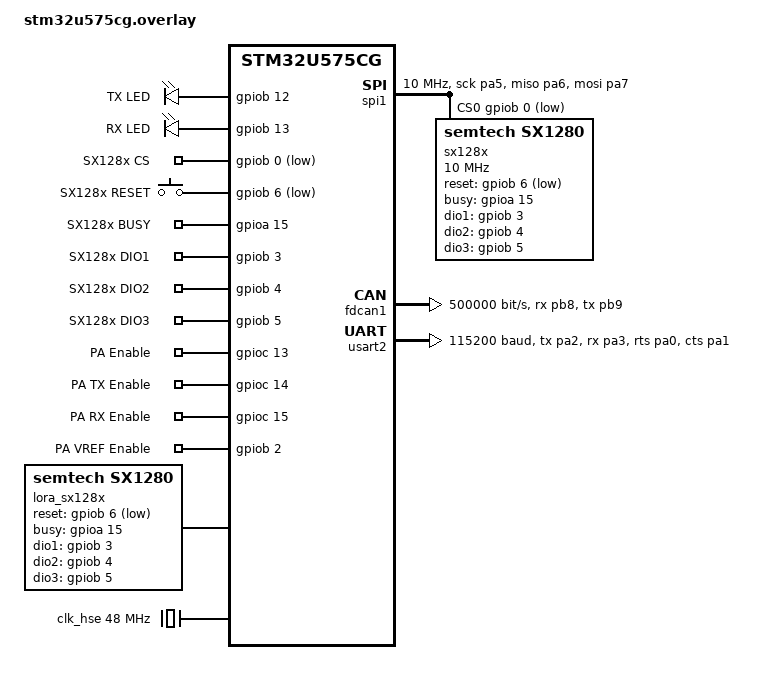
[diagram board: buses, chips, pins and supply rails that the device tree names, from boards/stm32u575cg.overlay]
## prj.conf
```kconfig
CONFIG_POLL=y
CONFIG_CAN=y
CONFIG_CAN_INIT_PRIORITY=80
CONFIG_CAN_MAX_FILTER=5

CONFIG_SHELL=y
CONFIG_CAN_SHELL=y
CONFIG_DEVICE_SHELL=y

CONFIG_GPIO=y
CONFIG_STATS=y
CONFIG_STATS_NAMES=y
CONFIG_STATS_SHELL=y
CONFIG_CAN_STATS=y

# Logging configuration
CONFIG_LOG=y
CONFIG_LOG_MODE_IMMEDIATE=y
CONFIG_USE_SEGGER_RTT=y
CONFIG_LOG_BACKEND_RTT=y
CONFIG_RTT_CONSOLE=y
CONFIG_SEGGER_RTT_BUFFER_SIZE_UP=1024
CONFIG_SEGGER_RTT_MODE_BLOCK_IF_FIFO_FULL=y

CONFIG_SX128X_LOG_LEVEL_DBG=y

# CONFIG_LOG_BACKEND_UART=y
# CONFIG_UART_CONSOLE=y
```

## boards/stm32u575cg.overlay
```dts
/*
 * STM32U575CG Board Overlay
 * Telemetry system peripheral configuration
 */

/ {
	aliases {
		lora0 = &lora_sx128x;
		led-tx = &led_tx;
		led-rx = &led_rx;
	};

	leds {
		compatible = "gpio-leds";
		led_tx: led_tx {
			gpios = <&gpiob 12 GPIO_ACTIVE_HIGH>;
			label = "TX LED";
		};
		led_rx: led_rx {
			gpios = <&gpiob 13 GPIO_ACTIVE_HIGH>;
			label = "RX LED";
		};
	};

	sx128x_gpios {
		compatible = "gpio-keys";
		sx128x_cs: sx128x_cs {
			gpios = <&gpiob 0 GPIO_ACTIVE_LOW>;
			label = "SX128x CS";
		};
		sx128x_reset: sx128x_reset {
			gpios = <&gpiob 6 GPIO_ACTIVE_LOW>;
			label = "SX128x RESET";
		};
		sx128x_busy: sx128x_busy {
			gpios = <&gpioa 15 GPIO_ACTIVE_HIGH>;
			label = "SX128x BUSY";
		};
		sx128x_dio1: sx128x_dio1 {
			gpios = <&gpiob 3 GPIO_ACTIVE_HIGH>;
			label = "SX128x DIO1";
		};
		sx128x_dio2: sx128x_dio2 {
			gpios = <&gpiob 4 GPIO_ACTIVE_HIGH>;
			label = "SX128x DIO2";
		};
		sx128x_dio3: sx128x_dio3 {
			gpios = <&gpiob 5 GPIO_ACTIVE_HIGH>;
			label = "SX128x DIO3";
		};
	};

	pa_control {
		compatible = "gpio-keys";
		pa_en: pa_en {
			gpios = <&gpioc 13 GPIO_ACTIVE_HIGH>;
			label = "PA Enable";
		};
		pa_tx_en: pa_tx_en {
			gpios = <&gpioc 14 GPIO_ACTIVE_HIGH>;
			label = "PA TX Enable";
		};
		pa_rx_en: pa_rx_en {
			gpios = <&gpioc 15 GPIO_ACTIVE_HIGH>;
			label = "PA RX Enable";
		};
		pa_vref_en: pa_vref_en {
			gpios = <&gpiob 2 GPIO_ACTIVE_HIGH>;
			label = "PA VREF Enable";
		};
	};

	lora_sx128x: sx128x@0 {
		compatible = "semtech,sx1280";
		reset-gpios = <&gpiob 6 GPIO_ACTIVE_LOW>;
		busy-gpios = <&gpioa 15 GPIO_ACTIVE_HIGH>;
		dio1-gpios = <&gpiob 3 GPIO_ACTIVE_HIGH>;
		dio2-gpios = <&gpiob 4 GPIO_ACTIVE_HIGH>;
		dio3-gpios = <&gpiob 5 GPIO_ACTIVE_HIGH>;
	};
};

/* Clock Configuration */
&clk_hse {
	clock-frequency = <DT_FREQ_M(48)>;
	status = "okay";
};

&clk_hsi48 {
	status = "okay";
};

&pll1 {
	div-m = <3>;
	mul-n = <10>;
	div-p = <1>;
	div-q = <2>;
	div-r = <2>;
	clocks = <&clk_hse>;
	status = "okay";
};

&rcc {
	clocks = <&pll1>;
	clock-frequency = <DT_FREQ_M(160)>;
	ahb-prescaler = <1>;
	apb1-prescaler = <1>;
	apb2-prescaler = <1>;
	apb3-prescaler = <1>;
};

/* SPI1 Configuration */
&spi1 {
	pinctrl-0 = <&spi1_sck_pa5 &spi1_miso_pa6 &spi1_mosi_pa7>;
	pinctrl-names = "default";
	cs-gpios = <&gpiob 0 GPIO_ACTIVE_LOW>;
	status = "okay";
	clock-frequency = <DT_FREQ_M(10)>;

	sx128x@0 {
		compatible = "semtech,sx1280";
		reg = <0>;
		spi-max-frequency = <DT_FREQ_M(10)>;
		reset-gpios = <&gpiob 6 GPIO_ACTIVE_LOW>;
		busy-gpios = <&gpioa 15 GPIO_ACTIVE_HIGH>;
		dio1-gpios = <&gpiob 3 GPIO_ACTIVE_HIGH>;
		dio2-gpios = <&gpiob 4 GPIO_ACTIVE_HIGH>;
		dio3-gpios = <&gpiob 5 GPIO_ACTIVE_HIGH>;
	};
};

/* FDCAN1 Configuration */
&fdcan1 {
	pinctrl-0 = <&fdcan1_rx_pb8 &fdcan1_tx_pb9>;
	pinctrl-names = "default";
	status = "okay";
	bus-speed = <500000>;
	bus-speed-data = <1000000>;
	sjw = <1>;
	sjw-data = <1>;
	sample-point = <875>;
	sample-point-data = <875>;
};

/* USART2 Configuration with DMA */
&usart2 {
	pinctrl-0 = <&usart2_tx_pa2 &usart2_rx_pa3 &usart2_rts_pa0 &usart2_cts_pa1>;
	pinctrl-names = "default";
	current-speed = <115200>;
	hw-flow-control;
	status = "okay";
	dmas = <&gpdma1 0 0 (STM32_DMA_PERIPH_TX | STM32_DMA_PRIORITY_HIGH)>,
	       <&gpdma1 1 0 (STM32_DMA_PERIPH_RX | STM32_DMA_PRIORITY_HIGH)>;
	dma-names = "tx", "rx";
};

/* DMA Configuration */
&gpdma1 {
	status = "okay";
};

/* GPIO Port Configuration */
&gpioa {
	status = "okay";
};

&gpiob {
	status = "okay";
};

&gpioc {
	status = "okay";
};
```

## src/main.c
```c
/*
 * Copyright (c) 2018 Alexander Wachter
 *
 * SPDX-License-Identifier: Apache-2.0
 */

/* Sample CAN implementation from zephyr */
#include <stdio.h>

#include <zephyr/device.h>
#include <zephyr/drivers/can.h>
#include <zephyr/drivers/gpio.h>
#include <zephyr/kernel.h>
#include <zephyr/sys/byteorder.h>
#include <zephyr/sys/printk.h>

/* Thread configuration constants */
#define RX_THREAD_STACK_SIZE 512         // Stack size for receive thread
#define RX_THREAD_PRIORITY 2             // Priority level for RX thread
#define STATE_POLL_THREAD_STACK_SIZE 512 // Stack size for state polling thread
#define STATE_POLL_THREAD_PRIORITY 2     // Priority level for state thread

/* CAN message identifiers */
#define LED_MSG_ID 0x10        // Standard CAN ID for LED control messages
#define COUNTER_MSG_ID 0x12345 // Extended CAN ID for counter messages

/* LED control values */
#define SET_LED 1   // Value to turn LED on
#define RESET_LED 0 // Value to turn LED off

/* Timing constant */
#define SLEEP_TIME K_MSEC(250) // 250ms delay between transmissions

/* Allocate memory for thread stacks */
K_THREAD_STACK_DEFINE(rx_thread_stack, RX_THREAD_STACK_SIZE);
K_THREAD_STACK_DEFINE(poll_state_stack, STATE_POLL_THREAD_STACK_SIZE);

/* Get the CAN device from device tree */
const struct device *const can_dev = DEVICE_DT_GET(DT_CHOSEN(zephyr_canbus));

/* Get LED GPIO specification from device tree (or use empty spec if not
 * available) */
struct gpio_dt_spec led = GPIO_DT_SPEC_GET_OR(DT_ALIAS(led0), gpios, {0});

/* Thread control blocks */
struct k_thread rx_thread_data;
struct k_thread poll_state_thread_data;

/* Work items for deferred processing */
struct k_work_poll change_led_work; // Polling work for LED changes
struct k_work state_change_work;    // Work item for state change callbacks

/* Global state variables */
enum can_state current_state;           // Current CAN bus state
struct can_bus_err_cnt current_err_cnt; // Current error counters

/* Message queues for CAN frames - macro creates queue with 2 frame capacity */
CAN_MSGQ_DEFINE(change_led_msgq, 2); // Queue for LED control messages
CAN_MSGQ_DEFINE(counter_msgq, 2);    // Queue for counter messages

/* Poll event for LED message queue - triggers when data is available */
static struct k_poll_event change_led_events[1] = {
    K_POLL_EVENT_STATIC_INITIALIZER(K_POLL_TYPE_MSGQ_DATA_AVAILABLE,
                                    K_POLL_MODE_NOTIFY_ONLY, &change_led_msgq,
                                    0)};

/**
 * Callback function called when a CAN frame transmission completes
 * @param dev: The CAN device
 * @param error: Error code (0 = success)
 * @param arg: User-provided argument (sender identification string)
 */
void tx_irq_callback(const struct device *dev, int error, void *arg) {
  char *sender = (char *)arg;

  ARG_UNUSED(dev);

  // Only print if there was an error
  if (error != 0) {
    printf("Callback! error-code: %d\nSender: %s\n", error, sender);
  }
}

/**
 * Thread function that receives counter messages from CAN bus
 * Filters for extended ID messages with COUNTER_MSG_ID
 */
void rx_thread(void *arg1, void *arg2, void *arg3) {
  ARG_UNUSED(arg1);
  ARG_UNUSED(arg2);
  ARG_UNUSED(arg3);

  /* Configure filter for extended CAN frames with specific ID */
  const struct can_filter filter = {
      .flags = CAN_FILTER_IDE, // Filter for extended ID frames
      .id = COUNTER_MSG_ID,    // Match this specific ID
      .mask = CAN_EXT_ID_MASK  // Check all bits of extended ID
  };
  struct can_frame frame;
  int filter_id;

  /* Add filter and attach to message queue - received frames go directly to
   * queue */
  filter_id = can_add_rx_filter_msgq(can_dev, &counter_msgq, &filter);
  printf("Counter filter id: %d\n", filter_id);

  /* Main receive loop - runs forever */
  while (1) {
    /* Block until a frame is available in the queue */
    k_msgq_get(&counter_msgq, &frame, K_FOREVER);

    /* Skip Remote Transmission Request frames if RTR is enabled */
    if (IS_ENABLED(CONFIG_CAN_ACCEPT_RTR) &&
        (frame.flags & CAN_FRAME_RTR) != 0U) {
      continue;
    }

    /* Validate data length - expecting 2 bytes for uint16_t counter */
    if (frame.dlc != 2U) {
      printf("Wrong data length: %u\n", frame.dlc);
      continue;
    }

    /* Extract counter value - convert from big-endian network byte order */
    printf("Counter received: %u\n",
           sys_be16_to_cpu(UNALIGNED_GET((uint16_t *)&frame.data)));
  }
}

/**
 * Work handler that processes LED control messages
 * Executes in system workqueue context when polled event triggers
 */
void change_led_work_handler(struct k_work *work) {
  struct can_frame frame;
  int ret;

  /* Process all available messages in the queue */
  while (k_msgq_get(&change_led_msgq, &frame, K_NO_WAIT) == 0) {
    /* Skip RTR frames if enabled */
    if (IS_ENABLED(CONFIG_CAN_ACCEPT_RTR) &&
        (frame.flags & CAN_FRAME_RTR) != 0U) {
      continue;
    }

    /* Control LED based on frame data */
    if (led.port == NULL) {
      /* No LED available - just print status */
      printf("LED %s\n", frame.data[0] == SET_LED ? "ON" : "OFF");
    } else {
      /* Set GPIO pin high (1) or low (0) */
      gpio_pin_set(led.port, led.pin, frame.data[0] == SET_LED ? 1 : 0);
    }
  }

  /* Resubmit the polling work to wait for next message */
  ret = k_work_poll_submit(&change_led_work, change_led_events,
                           ARRAY_SIZE(change_led_events), K_FOREVER);
  if (ret != 0) {
    printf("Failed to resubmit msgq polling: %d", ret);
  }
}

/**
 * Convert CAN state enum to human-readable string
 * @param state: The CAN controller state
 * @return: String representation of the state
 */
char *state_to_str(enum can_state state) {
  switch (state) {
  case CAN_STATE_ERROR_ACTIVE:
    return "error-active"; // Normal operation
  case CAN_STATE_ERROR_WARNING:
    return "error-warning"; // Error count exceeded warning threshold
  case CAN_STATE_ERROR_PASSIVE:
    return "error-passive"; // Error count exceeded passive threshold
  case CAN_STATE_BUS_OFF:
    return "bus-off"; // Too many errors, disconnected from bus
  case CAN_STATE_STOPPED:
    return "stopped"; // Controller is stopped
  default:
    return "unknown";
  }
}

/**
 * Thread that periodically polls CAN controller state and error counts
 * Prints updates when state or error counts change
 */
void poll_state_thread(void *unused1, void *unused2, void *unused3) {
  struct can_bus_err_cnt err_cnt = {0, 0};
  struct can_bus_err_cnt err_cnt_prev = {0, 0};
  enum can_state state_prev = CAN_STATE_ERROR_ACTIVE;
  enum can_state state;
  int err;

  while (1) {
    /* Query current state and error counters */
    err = can_get_state(can_dev, &state, &err_cnt);
    if (err != 0) {
      printf("Failed to get CAN controller state: %d", err);
      k_sleep(K_MSEC(100));
      continue;
    }

    /* Check if anything changed since last poll */
    if (err_cnt.tx_err_cnt != err_cnt_prev.tx_err_cnt ||
        err_cnt.rx_err_cnt != err_cnt_prev.rx_err_cnt || state_prev != state) {

      /* Update previous values */
      err_cnt_prev.tx_err_cnt = err_cnt.tx_err_cnt;
      err_cnt_prev.rx_err_cnt = err_cnt.rx_err_cnt;
      state_prev = state;

      /* Print current status */
      printf("state: %s\n"
             "rx error count: %d\n"
             "tx error count: %d\n",
             state_to_str(state), err_cnt.rx_err_cnt, err_cnt.tx_err_cnt);
    } else {
      /* No change - sleep before next poll */
      k_sleep(K_MSEC(100));
    }
  }
}

/**
 * Work handler for state change callbacks
 * Prints state information when CAN controller state changes
 */
void state_change_work_handler(struct k_work *work) {
  printf("State Change ISR\nstate: %s\n"
         "rx error count: %d\n"
         "tx error count: %d\n",
         state_to_str(current_state), current_err_cnt.rx_err_cnt,
         current_err_cnt.tx_err_cnt);
}

/**
 * Interrupt callback for CAN state changes
 * Executes in ISR context - defers work to system workqueue
 * @param dev: CAN device
 * @param state: New state
 * @param err_cnt: Current error counters
 * @param user_data: User-provided work item pointer
 */
void state_change_callback(const struct device *dev, enum can_state state,
                           struct can_bus_err_cnt err_cnt, void *user_data) {
  struct k_work *work = (struct k_work *)user_data;

  ARG_UNUSED(dev);

  /* Store state in global variables */
  current_state = state;
  current_err_cnt = err_cnt;

  /* Submit work item for processing outside ISR context */
  k_work_submit(work);
}

/**
 * Main function - initializes CAN bus and runs transmission loop
 */
int main(void) {
  /* Filter for standard ID LED control messages */
  const struct can_filter change_led_filter = {
      .flags = 0U,            // Standard ID (not extended)
      .id = LED_MSG_ID,       // Match LED message ID
      .mask = CAN_STD_ID_MASK // Check all standard ID bits
  };

  /* Frame for LED control - standard ID, 1 byte of data */
  struct can_frame change_led_frame = {
      .flags = 0,
      .id = LED_MSG_ID,
      .dlc = 1 // Data length: 1 byte
  };

  /* Frame for counter - extended ID, 2 bytes of data */
  struct can_frame counter_frame = {
      .flags = CAN_FRAME_IDE, // Extended ID flag
      .id = COUNTER_MSG_ID,
      .dlc = 2 // Data length: 2 bytes
  };

  uint8_t toggle = 1;   // Toggle variable for LED state
  uint16_t counter = 0; // Counter value to transmit
  k_tid_t rx_tid, get_state_tid;
  int ret;

  /* Verify CAN device is ready */
  if (!device_is_ready(can_dev)) {
    printf("CAN: Device %s not ready.\n", can_dev->name);
    return 0;
  }

#ifdef CONFIG_LOOPBACK_MODE
  /* Enable loopback mode for testing without physical bus */
  ret = can_set_mode(can_dev, CAN_MODE_LOOPBACK);
  if (ret != 0) {
    printf("Error setting CAN mode [%d]", ret);
    return 0;
  }
#endif

  /* Start the CAN controller */
  ret = can_start(can_dev);
  if (ret != 0) {
    printf("Error starting CAN controller [%d]", ret);
    return 0;
  }

  /* Initialize LED GPIO if available */
  if (led.port != NULL) {
    if (!gpio_is_ready_dt(&led)) {
      printf("LED: Device %s not ready.\n", led.port->name);
      return 0;
    }
    /* Configure LED pin as output, initially high */
    ret = gpio_pin_configure_dt(&led, GPIO_OUTPUT_HIGH);
    if (ret < 0) {
      printf("Error setting LED pin to output mode [%d]", ret);
      led.port = NULL; // Disable LED on error
    }
  }

  /* Initialize work items */
  k_work_init(&state_change_work, state_change_work_handler);
  k_work_poll_init(&change_led_work, change_led_work_handler);

  /* Add receive filter for LED messages */
  ret = can_add_rx_filter_msgq(can_dev, &change_led_msgq, &change_led_filter);
  if (ret == -ENOSPC) {
    printf("Error, no filter available!\n");
    return 0;
  }

  printf("Change LED filter ID: %d\n", ret);

  /* Submit polling work for LED messages */
  ret = k_work_poll_submit(&change_led_work, change_led_events,
                           ARRAY_SIZE(change_led_events), K_FOREVER);
  if (ret != 0) {
    printf("Failed to submit msgq polling: %d", ret);
    return 0;
  }

  /* Create thread to receive counter messages */
  rx_tid = k_thread_create(&rx_thread_data, rx_thread_stack,
                           K_THREAD_STACK_SIZEOF(rx_thread_stack), rx_thread,
                           NULL, NULL, NULL, RX_THREAD_PRIORITY, 0, K_NO_WAIT);
  if (!rx_tid) {
    printf("ERROR spawning rx thread\n");
  }

  /* Create thread to poll CAN controller state */
  get_state_tid = k_thread_create(&poll_state_thread_data, poll_state_stack,
                                  K_THREAD_STACK_SIZEOF(poll_state_stack),
                                  poll_state_thread, NULL, NULL, NULL,
                                  STATE_POLL_THREAD_PRIORITY, 0, K_NO_WAIT);
  if (!get_state_tid) {
    printf("ERROR spawning poll_state_thread\n");
  }

  /* Register callback for CAN state changes */
  can_set_state_change_callback(can_dev, state_change_callback,
                                &state_change_work);

  printf("Finished init.\n");

  /* Main transmission loop */
  while (1) {
    /* Toggle LED state (alternates between on/off) */
    change_led_frame.data[0] = toggle++ & 0x01 ? SET_LED : RESET_LED;

    /* Send LED control frame - non-blocking with callback */
    can_send(can_dev, &change_led_frame, K_FOREVER, tx_irq_callback,
             "LED change");
    k_sleep(SLEEP_TIME);

    /* Prepare counter frame - store as big-endian uint16_t */
    UNALIGNED_PUT(sys_cpu_to_be16(counter), (uint16_t *)&counter_frame.data[0]);
    counter++;

    /* Send counter frame - blocking call with 100ms timeout */
    can_send(can_dev, &counter_frame, K_MSEC(100), NULL, NULL);
    k_sleep(SLEEP_TIME);
  }
}
```

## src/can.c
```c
#include "can.h"
#include <string.h>
#include <zephyr/drivers/can.h>
#include <zephyr/kernel.h>
#include <zephyr/logging/log.h>

LOG_MODULE_REGISTER(can_module, LOG_LEVEL_DBG);

/* CAN device */
static const struct device *can_dev = DEVICE_DT_GET(DT_NODELABEL(fdcan1));

/* Message queues */
K_MSGQ_DEFINE(can_rx_queue, sizeof(CanMsg), 32, 4);
K_MSGQ_DEFINE(can_tx_queue, sizeof(CanMsg), 32, 4);

/* Thread stacks */
#define CAN_RX_THREAD_STACK_SIZE 1024
#define CAN_TX_THREAD_STACK_SIZE 1024
#define CAN_THREAD_PRIORITY 5

K_THREAD_STACK_DEFINE(can_rx_thread_stack, CAN_RX_THREAD_STACK_SIZE);
K_THREAD_STACK_DEFINE(can_tx_thread_stack, CAN_TX_THREAD_STACK_SIZE);

static struct k_thread can_rx_thread_data;
static struct k_thread can_tx_thread_data;

/* CAN RX callback */
static void can_rx_callback(const struct device *dev, struct can_frame *frame,
                            void *user_data) {
  ARG_UNUSED(dev);
  ARG_UNUSED(user_data);

  /* Convert to CanMsg */
  CanMsg msg;
  msg.id = frame->id;
  msg.length = frame->dlc;

  if (msg.length > 64) {
    LOG_WRN("Received CAN frame with length > 64, truncating");
    msg.length = 64;
  }

  memcpy(msg.data, frame->data, msg.length);

  /* Queue the message for radio transmission */
  int ret = k_msgq_put(&can_tx_queue, &msg, K_NO_WAIT);
  if (ret != 0) {
    LOG_WRN("CAN TX queue full, dropping message ID 0x%03x", msg.id);
  }
}

/* CAN RX thread - sets up filter and waits */
static void can_rx_thread(void *arg1, void *arg2, void *arg3) {
  ARG_UNUSED(arg1);
  ARG_UNUSED(arg2);
  ARG_UNUSED(arg3);

  LOG_INF("CAN RX thread started");

  /* Setup RX filter for standard IDs 0-255 */
  struct can_filter filter = {
      .flags = CAN_FILTER_IDE,
      .id = 0x000,
      .mask = CAN_STD_ID_MASK & ~0xFF /* Accept IDs 0x000-0x0FF */
  };

  int filter_id = can_add_rx_filter(can_dev, can_rx_callback, NULL, &filter);
  if (filter_id < 0) {
    LOG_ERR("Failed to add CAN RX filter: %d", filter_id);
    return;
  }

  LOG_INF("CAN RX filter installed (ID: %d), accepting IDs 0-255", filter_id);

  /* Thread keeps running - callbacks handle RX */
  while (1) {
    k_sleep(K_FOREVER);
  }
}

/* CAN TX thread - sends messages from rx_queue to CAN bus */
static void can_tx_thread(void *arg1, void *arg2, void *arg3) {
  ARG_UNUSED(arg1);
  ARG_UNUSED(arg2);
  ARG_UNUSED(arg3);

  LOG_INF("CAN TX thread started");

  CanMsg msg;

  while (1) {
    /* Block waiting for message from radio */
    int ret = k_msgq_get(&can_rx_queue, &msg, K_FOREVER);
    if (ret != 0) {
      LOG_ERR("Failed to get message from RX queue: %d", ret);
      continue;
    }

    /* Validate message */
    if (msg.id > 0xFF) {
      LOG_WRN("CAN message ID 0x%03x out of range (0-255), dropping", msg.id);
      continue;
    }

    if (msg.length > 64) {
      LOG_WRN("CAN message length %d > 64, truncating", msg.length);
      msg.length = 64;
    }

    /* Convert to Zephyr CAN frame */
    struct can_frame frame = {
        .flags =
            CAN_FRAME_FDF | CAN_FRAME_BRS, /* FD mode with bit rate switch */
        .id = msg.id,
        .dlc = msg.length};

    memcpy(frame.data, msg.data, msg.length);

    /* Send the frame */
    ret = can_send(can_dev, &frame, K_MSEC(100), NULL, NULL);
    if (ret != 0) {
      LOG_ERR("Failed to send CAN frame ID 0x%03x: %d", msg.id, ret);
    } else {
      LOG_DBG("Sent CAN frame ID 0x%03x, len %d", msg.id, msg.length);
    }
  }
}

int can_init(void) {
  if (!device_is_ready(can_dev)) {
    LOG_ERR("CAN device not ready");
    return -ENODEV;
  }

  LOG_INF("CAN device ready");

  /* Configure CAN timing for CAN-FD */
  /* Nominal bitrate: 500 kbps, Data bitrate: 1 Mbps */
  struct can_timing timing = {.sjw = 1,
                              .prop_seg = 0,
                              .phase_seg1 = 13,
                              .phase_seg2 = 2,
                              .prescaler = 6};

  struct can_timing timing_data = {.sjw = 1,
                                   .prop_seg = 0,
                                   .phase_seg1 = 6,
                                   .phase_seg2 = 1,
                                   .prescaler = 6};

  int ret = can_set_timing(can_dev, &timing);
  if (ret != 0) {
    LOG_ERR("Failed to set CAN timing: %d", ret);
    return ret;
  }

  ret = can_set_timing_data(can_dev, &timing_data);
  if (ret != 0) {
    LOG_ERR("Failed to set CAN data timing: %d", ret);
    return ret;
  }

  /* Set CAN mode to FD */
  ret = can_set_mode(can_dev, CAN_MODE_FD);
  if (ret != 0) {
    LOG_ERR("Failed to set CAN FD mode: %d", ret);
    return ret;
  }

  /* Start CAN controller */
  ret = can_start(can_dev);
  if (ret != 0) {
    LOG_ERR("Failed to start CAN: %d", ret);
    return ret;
  }

  LOG_INF("CAN controller started in FD mode (500k/1M)");

  /* Create RX thread */
  k_thread_create(&can_rx_thread_data, can_rx_thread_stack,
                  K_THREAD_STACK_SIZEOF(can_rx_thread_stack), can_rx_thread,
                  NULL, NULL, NULL, CAN_THREAD_PRIORITY, 0, K_NO_WAIT);
  k_thread_name_set(&can_rx_thread_data, "can_rx");

  /* Create TX thread */
  k_thread_create(&can_tx_thread_data, can_tx_thread_stack,
                  K_THREAD_STACK_SIZEOF(can_tx_thread_stack), can_tx_thread,
                  NULL, NULL, NULL, CAN_THREAD_PRIORITY, 0, K_NO_WAIT);
  k_thread_name_set(&can_tx_thread_data, "can_tx");

  LOG_INF("CAN threads started");

  return 0;
}

int can_queue_rx_msg(const CanMsg *msg) {
  if (!msg) {
    return -EINVAL;
  }

  /* Queue message for transmission on CAN bus */
  int ret = k_msgq_put(&can_rx_queue, msg, K_NO_WAIT);
  if (ret != 0) {
    return -ENOMEM;
  }

  return 0;
}

int can_dequeue_tx_msg(CanMsg *msg, k_timeout_t timeout) {
  if (!msg) {
    return -EINVAL;
  }

  /* Dequeue message received from CAN bus */
  int ret = k_msgq_get(&can_tx_queue, msg, timeout);
  if (ret != 0) {
    return -EAGAIN;
  }

  return 0;
}
```

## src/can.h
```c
#ifndef CAN_H
#define CAN_H

#include "protocol.h"
#include <zephyr/kernel.h>

/**
 * Initialize CAN peripheral and start RX/TX threads
 *
 * Configures CAN-FD with:
 * - Nominal bitrate: 500 kbps
 * - Data bitrate: 1 Mbps
 * - FD mode enabled
 * - Max data length: 64 bytes
 *
 * @return 0 on success, negative error code on failure
 */
int can_init(void);

/**
 * Queue a received CAN message from radio for transmission on CAN bus
 *
 * This function is called by the radio layer when a CAN message
 * needs to be transmitted on the CAN bus.
 *
 * @param msg CAN message to queue for transmission
 * @return 0 on success, -ENOMEM if queue is full
 */
int can_queue_rx_msg(const CanMsg *msg);

/**
 * Dequeue a CAN message received from bus for radio transmission
 *
 * This function is called by the radio layer to get CAN messages
 * that were received from the CAN bus and need to be transmitted
 * over the radio.
 *
 * @param msg Buffer to store the dequeued message
 * @param timeout Timeout for waiting if queue is empty
 * @return 0 on success, -EAGAIN if timeout, negative error code on failure
 */
int can_dequeue_tx_msg(CanMsg *msg, k_timeout_t timeout);

#endif /* CAN_H */
```

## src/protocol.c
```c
#include "protocol.h"
#include <string.h>
#include <zephyr/sys/crc.h>

/* Protocol constants */
#define PROTOCOL_HEADER_MAGIC_0 'b'
#define PROTOCOL_HEADER_MAGIC_1 'r'
#define PROTOCOL_HEADER_SIZE 4 /* "br" + id + payload_length */
#define PROTOCOL_CRC_SIZE 2
#define PROTOCOL_MIN_PACKET_SIZE (PROTOCOL_HEADER_SIZE + PROTOCOL_CRC_SIZE)

/* Helper function to write uint16_t in little-endian */
static inline void write_u16_le(uint8_t *buf, uint16_t value) {
  buf[0] = value & 0xFF;
  buf[1] = (value >> 8) & 0xFF;
}

/* Helper function to read uint16_t in little-endian */
static inline uint16_t read_u16_le(const uint8_t *buf) {
  return (uint16_t)buf[0] | ((uint16_t)buf[1] << 8);
}

int protocol_begin_buffer(uint8_t *data, size_t data_len, uint8_t id) {
  if (!data || data_len < PROTOCOL_MIN_PACKET_SIZE) {
    return -1;
  }

  /* Write header: "br" + id + payload_length (placeholder 0) */
  data[0] = PROTOCOL_HEADER_MAGIC_0;
  data[1] = PROTOCOL_HEADER_MAGIC_1;
  data[2] = id;
  data[3] = 0; /* Payload length placeholder, will be updated in finish */

  return PROTOCOL_HEADER_SIZE;
}

int protocol_append_can_frame(uint8_t *data, size_t data_len, size_t index,
                              const CanMsg *msg) {
  if (!data || !msg || msg->length > 64) {
    return -1;
  }

  /* CAN frame: id(2 bytes LE) + length(1 byte) + data[length] */
  size_t frame_size = 1 + 2 + 1 + msg->length;

  /* Check if we have enough space (including CRC at the end) */
  if (index + frame_size + PROTOCOL_CRC_SIZE > data_len) {
    return -1;
  }

  size_t idx = index;
  write_u16_le(&data[idx], msg->id);
  idx += 2;
  data[idx++] = msg->length;
  memcpy(&data[idx], msg->data, msg->length);
  idx += msg->length;

  return idx;
}

int protocol_finish_buffer(uint8_t *data, size_t index) {
  if (!data || index < PROTOCOL_HEADER_SIZE) {
    return -1;
  }

  /* Calculate payload length */
  size_t payload_len = index - PROTOCOL_HEADER_SIZE;
  if (payload_len > 255) {
    return -1; /* Payload length must fit in 1 byte */
  }

  /* Update payload length in header */
  data[3] = (uint8_t)payload_len;

  /* Calculate CRC16-IBM-SDLC over header + payload */
  uint16_t crc = crc16_itu_t(0xFFFF, data, index);

  /* Append CRC in little-endian */
  write_u16_le(&data[index], crc);

  return index + PROTOCOL_CRC_SIZE;
}

int protocol_verify_and_extract(const uint8_t *data, size_t len,
                                const uint8_t **payload_out,
                                size_t *payload_len_out) {
  if (!data || !payload_out || !payload_len_out ||
      len < PROTOCOL_MIN_PACKET_SIZE) {
    return -1;
  }

  /* Verify magic header */
  if (data[0] != PROTOCOL_HEADER_MAGIC_0 ||
      data[1] != PROTOCOL_HEADER_MAGIC_1) {
    return -1;
  }

  /* Extract payload length from header */
  uint8_t payload_len = data[3];

  /* Verify total packet size matches */
  size_t expected_len = PROTOCOL_HEADER_SIZE + payload_len + PROTOCOL_CRC_SIZE;
  if (len != expected_len) {
    return -1;
  }

  /* Verify CRC */
  size_t crc_offset = PROTOCOL_HEADER_SIZE + payload_len;
  uint16_t received_crc = read_u16_le(&data[crc_offset]);
  uint16_t calculated_crc = crc16_itu_t(0xFFFF, data, crc_offset);

  if (received_crc != calculated_crc) {
    return -1;
  }

  /* Extract payload */
  *payload_out = &data[PROTOCOL_HEADER_SIZE];
  *payload_len_out = payload_len;

  return 0;
}

int protocol_consume_msg(const uint8_t *data, size_t len, CanMsg *msg_out,
                         const uint8_t **remaining_out,
                         size_t *remaining_len_out) {
  if (!data || !msg_out || !remaining_out || !remaining_len_out || len == 0) {
    return -1;
  }

  size_t idx = 1;

  /* CAN frame: 'c' + id(2 bytes LE) + length(1 byte) + data[length] */
  if (len < 1 + 2 + 1) {
    return -1; /* Not enough data for CAN frame header */
  }

  uint16_t can_id = read_u16_le(&data[idx]);
  idx += 2;

  uint8_t can_len = data[idx];
  idx += 1;

  if (can_len > 64) {
    return -1; /* Invalid CAN length */
  }

  if (len < idx + can_len) {
    return -1; /* Not enough data for CAN payload */
  }

  /* Fill message structure */
  msg_out->id = can_id;
  msg_out->length = can_len;
  memcpy(msg_out->data, &data[idx], can_len);
  idx += can_len;

  /* Set remaining data pointer and length */
  *remaining_out = &data[idx];
  *remaining_len_out = len - idx;

  return 0;
}
```

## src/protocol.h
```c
#ifndef PROTOCOL_H
#define PROTOCOL_H

#include <stddef.h>
#include <stdint.h>

/**
 * CAN message structure
 */
typedef struct {
  uint16_t id;
  uint8_t length;
  uint8_t data[64];
} CanMsg;

/**
 * Begin a new protocol buffer with header
 *
 * @param data Buffer to write to
 * @param data_len Total buffer size
 * @param id Message ID (0-255)
 * @return Index after header, or -1 on error
 */
int protocol_begin_buffer(uint8_t *data, size_t data_len, uint8_t id);

/**
 * Append a CAN frame to the protocol buffer
 *
 * @param data Buffer to write to
 * @param data_len Total buffer size
 * @param index Current index in buffer
 * @param msg CAN message to append
 * @return New index after frame, or -1 on error
 */
int protocol_append_can_frame(uint8_t *data, size_t data_len, size_t index,
                              const CanMsg *msg);

/**
 * Finish the protocol buffer by adding CRC footer
 *
 * @param data Buffer containing the message
 * @param index Current index (end of payload)
 * @return Total packet length including CRC, or -1 on error
 */
int protocol_finish_buffer(uint8_t *data, size_t index);

/**
 * Verify header and CRC, extract payload
 *
 * @param data Received packet data
 * @param len Packet length
 * @param payload_out Pointer to set to payload start
 * @param payload_len_out Pointer to store payload length
 * @return 0 on success, -1 on error
 */
int protocol_verify_and_extract(const uint8_t *data, size_t len,
                                const uint8_t **payload_out,
                                size_t *payload_len_out);

/**
 * Parse next message from payload
 *
 * @param data Payload data
 * @param len Payload length
 * @param msg_out Message structure to fill
 * @param remaining_out Pointer to remaining data after this message
 * @param remaining_len_out Length of remaining data
 * @return 0 on success, -1 on error
 */
int protocol_consume_msg(const uint8_t *data, size_t len, CanMsg *msg_out,
                         const uint8_t **remaining_out,
                         size_t *remaining_len_out);

#endif /* PROTOCOL_H */
```

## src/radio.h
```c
#ifndef RADIO_H
#define RADIO_H

#include <stddef.h>
#include <stdint.h>
#include <zephyr/kernel.h>
#include "sx128x/sx128x_hal.h"
#include "sx128x/sx128x.h"

/**
 * The radio layer bridges CAN and LoRa communication:
 *
 * TX Path (CAN → LoRa):
 * 1. Dequeue CAN messages from can_tx_queue via can_dequeue_tx_msg()
 * 2. Batch multiple CAN messages into a single protocol buffer
 * 3. Transmit when:
 *    - Batch timeout expires (10ms)
 *    - Max batch size reached (3-4 messages)
 *    - Buffer space exhausted
 * 4. Use protocol_begin_buffer() → protocol_append_can_frame() → protocol_finish_buffer()
 * 5. Call start_transmit() and wait for TX_DONE IRQ
 * 6. Return to RX mode
 *
 * RX Path (LoRa → CAN):
 * 1. Default state: listening via start_receive()
 * 2. On RX_DONE IRQ:
 *    - Call finish_receive() to get data
 *    - Validate with protocol_verify_and_extract()
 *    - Parse CAN messages with protocol_consume_msg()
 *    - Queue each message via can_queue_rx_msg()
 *    - Return to RX mode
 *
 * State Machine:
 * IDLE → RX (default state, listening)
 * RX → TX (when CAN data available)
 * TX → RX (after transmission complete)
 *
 * Threading:
 * - Radio TX thread: polls CAN queue, batches, transmits
 * - Radio RX IRQ handler: processes received packets
 * - Uses Zephyr work queues for IRQ handling
 *
 * Configuration:
 * - Max batch size: 3-4 messages (balance latency vs efficiency)
 * - Batch timeout: 10ms (acceptable latency for telemetry)
 * - LoRa buffer: 255 bytes max
 * - Protocol overhead: 6 bytes + 3 bytes per CAN message
 */

// Radio configuration
#define RADIO_MAX_BATCH_SIZE 4      // Max CAN messages per LoRa packet
#define RADIO_BATCH_TIMEOUT_MS 10
#define RADIO_BUFFER_SIZE 255

// Radio state
typedef enum {
    RADIO_STATE_IDLE,
    RADIO_STATE_RX,
    RADIO_STATE_TX
} radio_state_t;

/**
 * Initialize radio hardware and start RX/TX threads
 *
 * mod_params: LoRa modulation parameters (SF, BW, CR)
 * freq_hz: Radio frequency in Hz
 * returns: 0 on success, negative error code on failure
 */
int radio_init(sx128x_mod_params_lora_ranging_t mod_params, uint32_t freq_hz);

/**
 * Start radio transmission
 * What does a packet transmission look like?
 * 1. Write data to radio buffer (sx128x_write_buffer())
 * 2. Trigger RF transmission (sx128x_set_tx())
 * 3. Wait for radio to finish transmission (TX_DONE IRQ)
 * 4. Return to receive mode (sx128x_set_rx()) if there is no more data to send
 */
sx128x_hal_status_t start_transmit(uint8_t* data, size_t len);

sx128x_hal_status_t start_receive(uint8_t timeout, sx128x_irq_mask_t irq_flags, size_t len);

sx128x_hal_status_t finish_transmit(void);

/**
 * Finish reception and retrieve data
 * Called from RX_DONE IRQ handler
 *
 * buffer: Buffer to store received data
 * param: buffer_size Size of buffer
 * param: bytes_received Output: number of bytes received
 * returns: sx128x_hal_status_t
 */
sx128x_hal_status_t finish_receive(uint8_t *buffer, size_t buffer_size, size_t *bytes_received);

#endif /* RADIO_H */
```
